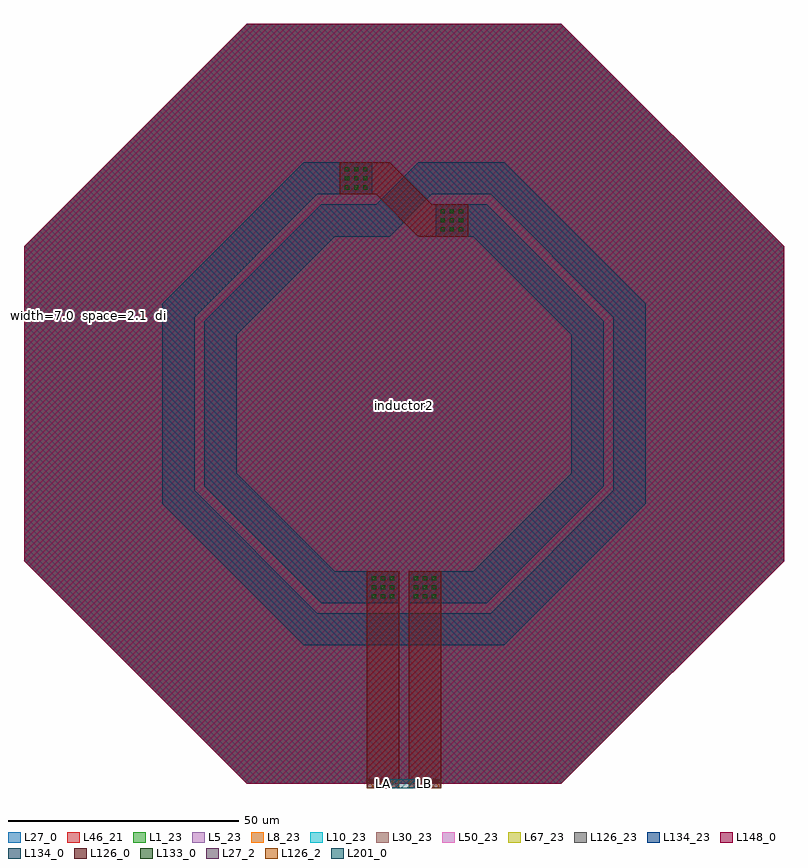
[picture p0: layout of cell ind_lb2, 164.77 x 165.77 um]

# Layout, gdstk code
import gdstk
lib = gdstk.Library(unit=1e-6, precision=1e-09)
def R(c, l, rs):  # rectangles x0, y0, x1, y1
    for r in rs: c.add(gdstk.rectangle(r[:2], r[2:], *l))
def A(c, l, x, y, w, h, nx, ny, dx, dy):  # array of equal rectangles
    R(c, l, [(x+i*dx, y+j*dy, x+i*dx+w, y+j*dy+h) for i in range(nx) for j in range(ny)])
def P(c, l, *ps):  # polygons
    for p in ps: c.add(gdstk.Polygon(p, *l))
L1_23 = (1, 23)
L5_23 = (5, 23)
L8_23 = (8, 23)
L10_23 = (10, 23)
L27_0 = (27, 0)
L27_2 = (27, 2)
L30_23 = (30, 23)
L46_21 = (46, 21)
L50_23 = (50, 23)
L67_23 = (67, 23)
L126_0 = (126, 0)
L126_2 = (126, 2)
L126_23 = (126, 23)
L133_0 = (133, 0)
L134_0 = (134, 0)
L134_23 = (134, 23)
L148_0 = (148, 0)
L201_0 = (201, 0)

ind_lb2 = lib.new_cell('ind_lb2')
P(ind_lb2, L1_23, [(-37.74,-16.54),(-86.005,31.725),(-86.005,99.965),(-37.74,148.23),(30.5,148.23),(78.765,99.965),(78.765,31.725),(30.5,-16.54)])
P(ind_lb2, L5_23, [(-37.74,-16.54),(-86.005,31.725),(-86.005,99.965),(-37.74,148.23),(30.5,148.23),(78.765,99.965),(78.765,31.725),(30.5,-16.54)])
P(ind_lb2, L8_23, [(-37.74,-16.54),(-86.005,31.725),(-86.005,99.965),(-37.74,148.23),(30.5,148.23),(78.765,99.965),(78.765,31.725),(30.5,-16.54)])
P(ind_lb2, L10_23, [(-37.74,-16.54),(-86.005,31.725),(-86.005,99.965),(-37.74,148.23),(30.5,148.23),(78.765,99.965),(78.765,31.725),(30.5,-16.54)])
P(ind_lb2, L27_0, [(-37.74,-16.54),(-86.005,31.725),(-86.005,99.965),(-37.74,148.23),(30.5,148.23),(78.765,99.965),(78.765,31.725),(30.5,-16.54)])
R(ind_lb2, L27_2, [(-11.67,-17.54,-4.67,-15.54), (-2.57,-17.54,4.43,-15.54)])
P(ind_lb2, L30_23, [(-37.74,-16.54),(-86.005,31.725),(-86.005,99.965),(-37.74,148.23),(30.5,148.23),(78.765,99.965),(78.765,31.725),(30.5,-16.54)])
P(ind_lb2, L46_21, [(-37.74,-16.54),(-86.005,31.725),(-86.005,99.965),(-37.74,148.23),(30.5,148.23),(78.765,99.965),(78.765,31.725),(30.5,-16.54)])
P(ind_lb2, L50_23, [(-37.74,-16.54),(-86.005,31.725),(-86.005,99.965),(-37.74,148.23),(30.5,148.23),(78.765,99.965),(78.765,31.725),(30.5,-16.54)])
P(ind_lb2, L67_23, [(-37.74,-16.54),(-86.005,31.725),(-86.005,99.965),(-37.74,148.23),(30.5,148.23),(78.765,99.965),(78.765,31.725),(30.5,-16.54)])
P(ind_lb2, L126_0, [(-0.495,102.09),(-9.615,111.21),(-17.505,111.21),(-17.505,118.21),(-6.745,118.21),(2.375,109.09),(10.265,109.09),(10.265,102.09)])
R(ind_lb2, L126_2, [(-11.67,-17.54,-4.67,-15.54), (-2.57,-17.54,4.43,-15.54)])
P(ind_lb2, L126_23, [(-37.74,-16.54),(-86.005,31.725),(-86.005,99.965),(-37.74,148.23),(30.5,148.23),(78.765,99.965),(78.765,31.725),(30.5,-16.54)])
A(ind_lb2, L133_0, -10.58, 23.65, 0.9, 0.9, 3, 3, 1.96, 1.96)
A(ind_lb2, L133_0, -1.48, 23.65, 0.9, 0.9, 3, 3, 1.96, 1.96)
A(ind_lb2, L133_0, 4.355, 103.18, 0.9, 0.9, 3, 3, 1.96, 1.96)
A(ind_lb2, L133_0, -16.415, 112.28, 0.9, 0.9, 3, 3, 1.96, 1.96)
R(ind_lb2, L134_0, [(-10.505,13.46,3.265,20.46)])
P(ind_lb2, L134_0, [(-2.57,22.56),(-2.57,29.56),(11.4,29.56),(32.645,50.805),(32.645,80.845),(11.4,102.09),(3.265,102.09),(3.265,109.09),(14.31,109.09),(39.645,83.755),(39.645,47.895),(14.31,22.56)],
  [(-21.55,22.56),(-46.885,47.895),(-46.885,83.755),(-21.55,109.09),(-10.505,109.09),(-10.505,102.09),(-18.64,102.09),(-39.885,80.845),(-39.885,50.805),(-18.64,29.56),(-4.67,29.56),(-4.67,22.56)],
  [(-10.505,102.09),(-10.505,109.09),(-9.615,109.09),(-0.495,118.21),(3.265,118.21),(3.265,111.21),(2.405,111.21),(-6.715,102.09)],
  [(3.265,13.46),(3.265,20.46),(15.17,20.46),(41.755,47.045),(41.755,84.625),(15.17,111.21),(3.265,111.21),(3.265,118.21),(18.08,118.21),(48.755,87.535),(48.755,44.135),(18.08,13.46)],
  [(-25.32,13.46),(-55.995,44.135),(-55.995,87.535),(-25.32,118.21),(-10.505,118.21),(-10.505,111.21),(-22.41,111.21),(-48.995,84.625),(-48.995,47.045),(-22.41,20.46),(-10.505,20.46),(-10.505,13.46)])
P(ind_lb2, L134_23, [(-37.74,-16.54),(-86.005,31.725),(-86.005,99.965),(-37.74,148.23),(30.5,148.23),(78.765,99.965),(78.765,31.725),(30.5,-16.54)])
P(ind_lb2, L148_0, [(-37.74,-16.54),(-86.005,31.725),(-86.005,99.965),(-37.74,148.23),(30.5,148.23),(78.765,99.965),(78.765,31.725),(30.5,-16.54)])
R(ind_lb2, L201_0, [(-6.67,-17.54,-0.57,-15.54)])
ind_lb2.add(gdstk.FlexPath([(0.93,-17.54),(0.93,29.56)], 7, ends="flush", simple_path=True, layer=126, datatype=0))  # L126_0
ind_lb2.add(gdstk.FlexPath([(-8.17,-17.54),(-8.17,29.56)], 7, ends="flush", simple_path=True, layer=126, datatype=0))  # L126_0
ind_lb2.add(gdstk.Label('LB', (0.93,-16.54), layer=27, texttype=25))
ind_lb2.add(gdstk.Label('LA', (-8.17,-16.54), layer=27, texttype=25))
ind_lb2.add(gdstk.Label('inductor2', (-3.62,65.45), layer=63, texttype=0))
ind_lb2.add(gdstk.Label('  width=7.0\n  space=2.1\n  diameter=72.53\n  turns=2', (-86.005,84.973), layer=63, texttype=0))

lib.write_gds('ind_lb2.gds')
